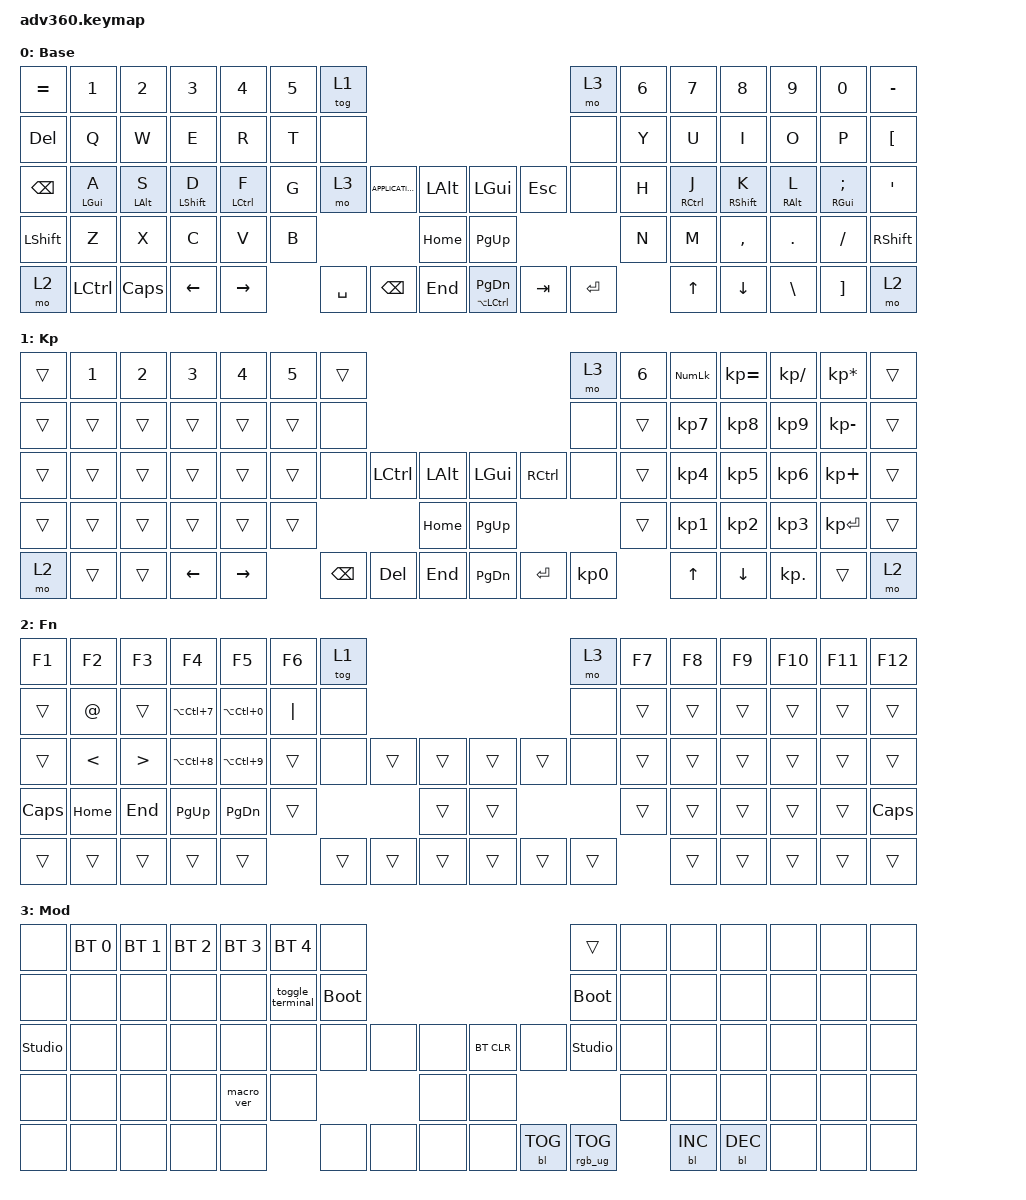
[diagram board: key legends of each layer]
#include <dt-bindings/zmk/stp.h>
#include <behaviors.dtsi>
#include <dt-bindings/zmk/backlight.h>
#include <dt-bindings/zmk/bt.h>
#include <dt-bindings/zmk/keys.h>
#include <dt-bindings/zmk/rgb.h>

/ {
    behaviors {
        #include "macros.dtsi"
      #include "version.dtsi"
      #ifndef VERSION_MACRO

        macro_ver: macro_ver {
            compatible = "zmk,behavior-macro";
            label = "macro_version";
            #binding-cells = <0>;
            bindings = <&kp RET>;
        };

        #endif

        hm: homerow_mods {
            compatible = "zmk,behavior-hold-tap";
            label = "HOMEROW_MODS";
            #binding-cells = <2>;
            tapping-term-ms = <200>;
            quick_tap_ms = <175>;
            flavor = "tap-preferred";
            bindings = <&kp>, <&kp>;
        };
    };

    macros {
        zed_em_kay: zed_em_kay {
            compatible = "zmk,behavior-macro";
            #binding-cells = <0>;
            bindings =
                <&macro_press>,
                <&kp LSHFT>,
                <&macro_tap>,
                <&kp Z &kp M &kp K>,
                <&macro_release>,
                <&kp LSHFT>;
        };

        open_terminal_linux: open_terminal_linux {
            compatible = "zmk,behavior-macro";
            #binding-cells = <0>;
            bindings = <&kp LCTRL &kp LALT &kp T>;
            label = "Terminal";
        };

        open_terminal_windows: open_terminal_windows {
            compatible = "zmk,behavior-macro";
            #binding-cells = <0>;
            bindings = <&kp LGUI &kp T &kp E &kp R &kp M &kp I &kp N &kp A &kp L &kp ENTER>;
            label = "Terminal";
        };

        open_terminal_mac: open_terminal_mac {
            compatible = "zmk,behavior-macro";
            #binding-cells = <0>;
            bindings = <&kp LGUI &kp SPACE &kp I &kp T &kp E &kp R &kp M &kp ENTER>;
            label = "Terminal";
        };

        toggle_terminal: toggle_terminal {
            compatible = "zmk,behavior-macro";
            #binding-cells = <0>;
            bindings = <&open_terminal_mac &open_terminal_windows &open_terminal_linux>;
            label = "TOGGLE_TERMINAL";
        };
    };

    keymap {
        compatible = "zmk,keymap";

        default_layer {
            display-name = "Base";
            bindings = <
&kp EQUAL      &kp N1      &kp N2          &kp N3        &kp N4       &kp N5  &tog 1                                                                    &mo 3       &kp N6  &kp N7       &kp N8        &kp N9      &kp N0         &kp MINUS
&kp DEL        &kp Q       &kp W           &kp E         &kp R        &kp T   &none                                                                     &none       &kp Y   &kp U        &kp I         &kp O       &kp P          &kp LBKT
&kp BACKSPACE  &hm LGUI A  &hm LEFT_ALT S  &hm LSHIFT D  &hm LCTRL F  &kp G   &mo 3      &kp K_APPLICATION  &kp LALT      &kp LGUI             &kp ESC  &none       &kp H   &hm RCTRL J  &hm RSHIFT K  &hm RALT L  &hm RGUI SEMI  &kp SQT
&kp LSHFT      &kp Z       &kp X           &kp C         &kp V        &kp B                                 &kp HOME      &kp PG_UP                                 &kp N   &kp M        &kp COMMA     &kp DOT     &kp FSLH       &kp RSHFT
&mo 2          &kp LCTRL   &kp CAPS        &kp LEFT      &kp RIGHT            &kp SPACE  &kp BACKSPACE      &kp END       &mt LA(LCTRL) PG_DN  &kp TAB  &kp RETURN          &kp UP       &kp DOWN      &kp BSLH    &kp RBKT       &mo 2
            >;
        };

        keypad {
            display-name = "Kp";
            bindings = <
&trans  &kp N1  &kp N2  &kp N3    &kp N4     &kp N5  &trans                                                   &mo 3      &kp N6  &kp KP_NUM  &kp KP_EQUAL  &kp KP_DIVIDE  &kp KP_MULTIPLY  &trans
&trans  &trans  &trans  &trans    &trans     &trans  &none                                                    &none      &trans  &kp KP_N7   &kp KP_N8     &kp KP_N9      &kp KP_MINUS     &trans
&trans  &trans  &trans  &trans    &trans     &trans  &none     &kp LCTRL  &kp LALT      &kp LGUI   &kp RCTRL  &none      &trans  &kp KP_N4   &kp KP_N5     &kp KP_N6      &kp KP_PLUS      &trans
&trans  &trans  &trans  &trans    &trans     &trans                       &kp HOME      &kp PG_UP                        &trans  &kp KP_N1   &kp KP_N2     &kp KP_N3      &kp KP_ENTER     &trans
&mo 2   &trans  &trans  &kp LEFT  &kp RIGHT          &kp BSPC  &kp DEL    &kp END       &kp PG_DN  &kp ENTER  &kp KP_N0          &kp UP      &kp DOWN      &kp KP_DOT     &trans           &mo 2
            >;
        };

        fn {
            display-name = "Fn";
            bindings = <
&kp F1    &kp F2    &kp F3   &kp F4                &kp F5                &kp F6    &tog 1                                      &mo 3   &kp F7  &kp F8  &kp F9  &kp F10  &kp F11  &kp F12
&trans    &kp AT    &trans   &kp LA(LC(NUMBER_7))  &kp LA(LC(NUMBER_0))  &kp PIPE  &none                                       &none   &trans  &trans  &trans  &trans   &trans   &trans
&trans    &kp LT    &kp GT   &kp LA(LC(NUMBER_8))  &kp LA(LC(NUMBER_9))  &trans    &none   &trans  &trans      &trans  &trans  &none   &trans  &trans  &trans  &trans   &trans   &trans
&kp CAPS  &kp HOME  &kp END  &kp PG_UP             &kp PG_DN             &trans                    &trans      &trans                  &trans  &trans  &trans  &trans   &trans   &kp CAPS
&trans    &trans    &trans   &trans                &trans                          &trans  &trans  &trans      &trans  &trans  &trans          &trans  &trans  &trans   &trans   &trans
            >;
        };

        mod {
            display-name = "Mod";
            bindings = <
&none           &bt BT_SEL 0  &bt BT_SEL 1  &bt BT_SEL 2  &bt BT_SEL 3  &bt BT_SEL 4      &none                                                  &trans           &none  &none       &none       &none  &none  &none
&none           &none         &none         &none         &none         &toggle_terminal  &bootloader                                            &bootloader      &none  &none       &none       &none  &none  &none
&studio_unlock  &none         &none         &none         &none         &none             &none        &none  &none      &bt BT_CLR  &none       &studio_unlock   &none  &none       &none       &none  &none  &none
&none           &none         &none         &none         &macro_ver    &none                                 &none      &none                                    &none  &none       &none       &none  &none  &none
&none           &none         &none         &none         &none                           &none        &none  &none      &none       &bl BL_TOG  &rgb_ug RGB_TOG         &bl BL_INC  &bl BL_DEC  &none  &none  &none
            >;
        };

        extra1 {
            display-name = "Red";
            status = "reserved";
        };

        extra2 {
            display-name = "Purple";
            status = "reserved";
        };

        extra3 {
            display-name = "Cyan";
            status = "reserved";
        };

        extra4 {
            display-name = "Yellow";
            status = "reserved";
        };
    };
};
